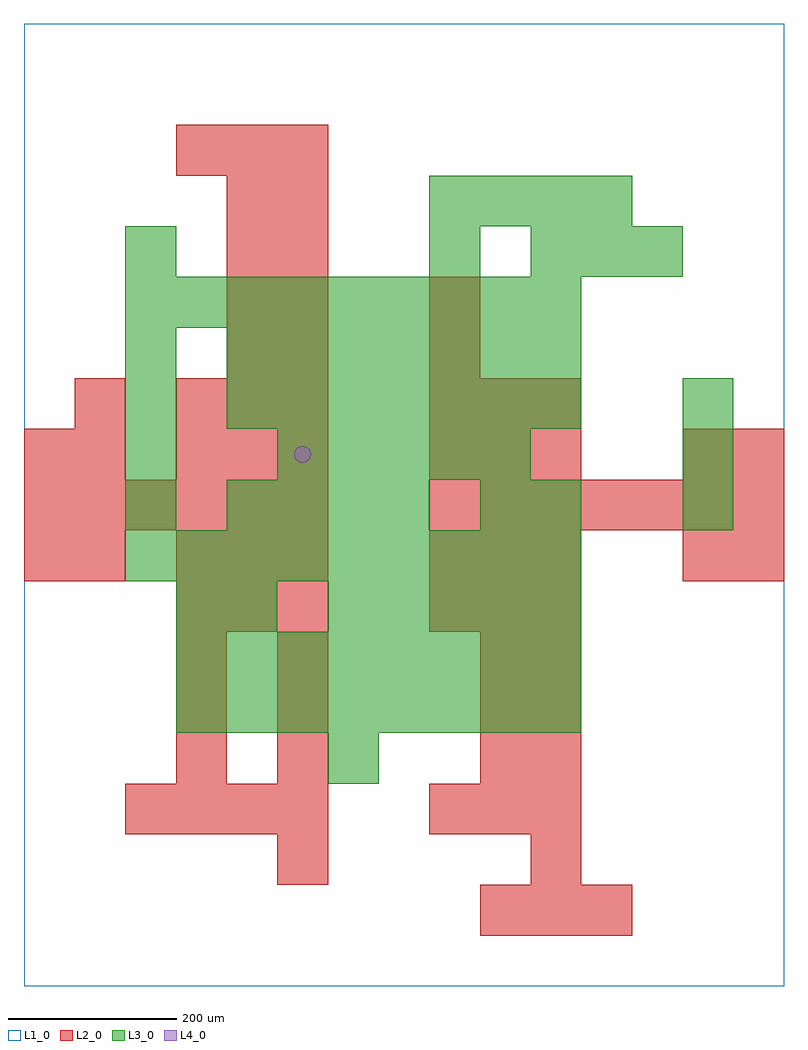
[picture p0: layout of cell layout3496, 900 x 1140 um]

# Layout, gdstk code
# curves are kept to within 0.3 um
import gdstk
lib = gdstk.Library(unit=1e-6, precision=1e-09)
def R(c, l, rs):  # rectangles x0, y0, x1, y1
    for r in rs: c.add(gdstk.rectangle(r[:2], r[2:], *l))
def A(c, l, x, y, w, h, nx, ny, dx, dy):  # array of equal rectangles
    R(c, l, [(x+i*dx, y+j*dy, x+i*dx+w, y+j*dy+h) for i in range(nx) for j in range(ny)])
def P(c, l, *ps):  # polygons
    for p in ps: c.add(gdstk.Polygon(p, *l))
L1_0 = (1, 0)
L2_0 = (2, 0)
L3_0 = (3, 0)
L4_0 = (4, 0)

layout3496 = lib.new_cell('layout3496')
R(layout3496, L1_0, [(0,0,900,1140)])
A(layout3496, L2_0, 540, 60, 60, 60, 3, 1, 60, 0)
A(layout3496, L2_0, 120, 180, 60, 60, 4, 1, 60, 0)
A(layout3496, L2_0, 480, 180, 60, 60, 3, 2, 60, 240)
A(layout3496, L2_0, 180, 240, 60, 60, 1, 3, 0, 60)
A(layout3496, L2_0, 300, 240, 60, 60, 1, 3, 0, 60)
A(layout3496, L2_0, 540, 240, 60, 60, 1, 3, 0, 60)
A(layout3496, L2_0, 600, 240, 60, 60, 1, 3, 0, 60)
A(layout3496, L2_0, 180, 420, 60, 60, 3, 2, 60, 60)
A(layout3496, L2_0, 480, 480, 60, 60, 3, 2, 60, 120)
A(layout3496, L2_0, 0, 540, 60, 60, 6, 1, 60, 0)
A(layout3496, L2_0, 480, 540, 60, 60, 7, 1, 60, 0)
A(layout3496, L2_0, 180, 600, 60, 60, 3, 2, 60, 60)
A(layout3496, L2_0, 480, 660, 60, 60, 3, 1, 60, 0)
A(layout3496, L2_0, 240, 720, 60, 60, 1, 4, 0, 60)
A(layout3496, L2_0, 300, 720, 60, 60, 1, 4, 0, 60)
A(layout3496, L2_0, 180, 960, 60, 60, 3, 1, 60, 0)
R(layout3496, L2_0, [(300,120,360,180), (600,120,660,180), (0,480,60,540), (60,480,120,540), (780,480,840,540), (840,480,900,540), (0,600,60,660), (60,600,120,660), (780,600,840,660), (840,600,900,660), (60,660,120,720), (480,720,540,780), (480,780,540,840)])
A(layout3496, L3_0, 180, 300, 60, 60, 8, 2, 60, 60)
A(layout3496, L3_0, 360, 420, 60, 60, 5, 1, 60, 0)
A(layout3496, L3_0, 120, 480, 60, 60, 9, 2, 60, 300)
A(layout3496, L3_0, 120, 540, 60, 60, 1, 4, 0, 60)
A(layout3496, L3_0, 240, 540, 60, 60, 4, 1, 60, 0)
A(layout3496, L3_0, 780, 540, 60, 60, 1, 3, 0, 60)
A(layout3496, L3_0, 300, 600, 60, 60, 5, 1, 60, 0)
A(layout3496, L3_0, 240, 660, 60, 60, 7, 2, 60, 60)
A(layout3496, L3_0, 600, 840, 60, 60, 3, 1, 60, 0)
A(layout3496, L3_0, 480, 900, 60, 60, 4, 1, 60, 0)
R(layout3496, L3_0, [(360,240,420,300), (180,420,240,480), (240,420,300,480), (540,540,600,600), (600,540,660,600), (120,840,180,900), (480,840,540,900)])
P(layout3496, L4_0, [(340,630),(339.239,633.827),(337.071,637.071),(333.827,639.239),(330,640),(326.173,639.239),(322.929,637.071),(320.761,633.827),(320,630),(320.761,626.173),(322.929,622.929),(326.173,620.761),(330,620),(333.827,620.761),(337.071,622.929),(339.239,626.173)])

lib.write_gds('layout3496.gds')
